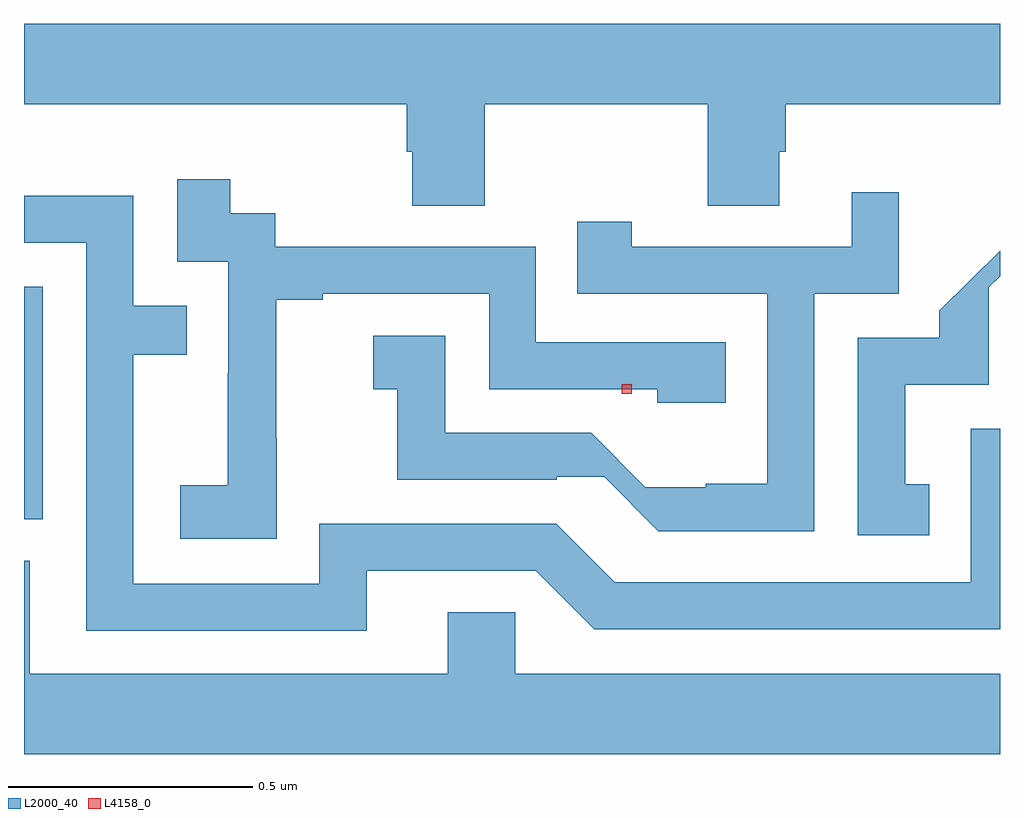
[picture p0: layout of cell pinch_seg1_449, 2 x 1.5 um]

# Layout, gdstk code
import gdstk
lib = gdstk.Library(unit=1e-6, precision=1e-09)
def R(c, l, rs):  # rectangles x0, y0, x1, y1
    for r in rs: c.add(gdstk.rectangle(r[:2], r[2:], *l))
def P(c, l, *ps):  # polygons
    for p in ps: c.add(gdstk.Polygon(p, *l))
L2000_40 = (2000, 40)
L4158_0 = (4158, 0)

pinch_seg1_449 = lib.new_cell('pinch_seg1_449')
R(pinch_seg1_449, L2000_40, [(909.139,516.249,909.177,516.726)])
P(pinch_seg1_449, L2000_40, [(910.083,517.1),(910.54,517.1),(910.54,516.892),(910.687,516.892),(910.687,517.002),(910.7,517.002),(910.7,517.1),(911.139,517.1),(911.139,517.264),(909.139,517.264),(909.139,517.1),(909.923,517.1),(909.923,517.002),(909.935,517.002),(909.935,516.892),(910.083,516.892)],
  [(909.657,516.415),(909.656,516.415),(909.656,516.699),(909.751,516.699),(909.751,516.711),(910.092,516.711),(910.092,516.516),(910.437,516.516),(910.437,516.488),(910.577,516.488),(910.577,516.612),(910.188,516.612),(910.188,516.807),(909.654,516.807),(909.654,516.876),(909.562,516.876),(909.562,516.946),(909.453,516.946),(909.453,516.777),(909.558,516.777),(909.558,516.548),(909.557,516.548),(909.557,516.319),(909.459,516.319),(909.459,516.209),(909.657,516.209)],
  [(910.758,516.711),(910.932,516.711),(910.932,516.919),(910.835,516.919),(910.835,516.807),(910.384,516.807),(910.384,516.859),(910.273,516.859),(910.273,516.711),(910.662,516.711),(910.662,516.322),(910.536,516.322),(910.536,516.315),(910.412,516.315),(910.301,516.426),(910.002,516.426),(910.002,516.625),(909.855,516.625),(909.855,516.515),(909.904,516.515),(909.904,516.33),(910.231,516.33),(910.231,516.336),(910.328,516.336),(910.439,516.225),(910.758,516.225)],
  [(909.841,516.144),(910.188,516.144),(910.308,516.024),(911.139,516.024),(911.139,516.435),(911.079,516.435),(911.079,516.12),(910.35,516.12),(910.23,516.24),(909.744,516.24),(909.744,516.117),(909.363,516.117),(909.363,516.586),(909.473,516.586),(909.473,516.687),(909.363,516.687),(909.363,516.912),(909.139,516.912),(909.139,516.816),(909.267,516.816),(909.267,516.021),(909.841,516.021)],
  [(910.994,516.321),(910.945,516.321),(910.945,516.525),(911.116,516.525),(911.116,516.724),(911.139,516.747),(911.139,516.799),(911.015,516.676),(911.015,516.621),(910.848,516.621),(910.848,516.216),(910.994,516.216)],
  [(911.139,515.932),(910.146,515.932),(910.146,516.059),(910.007,516.059),(910.007,515.932),(909.151,515.932),(909.151,516.164),(909.139,516.164),(909.139,515.768),(911.139,515.768)])
R(pinch_seg1_449, L4158_0, [(910.364,516.506,910.384,516.526)])

lib.write_gds('pinch_seg1_449.gds')
